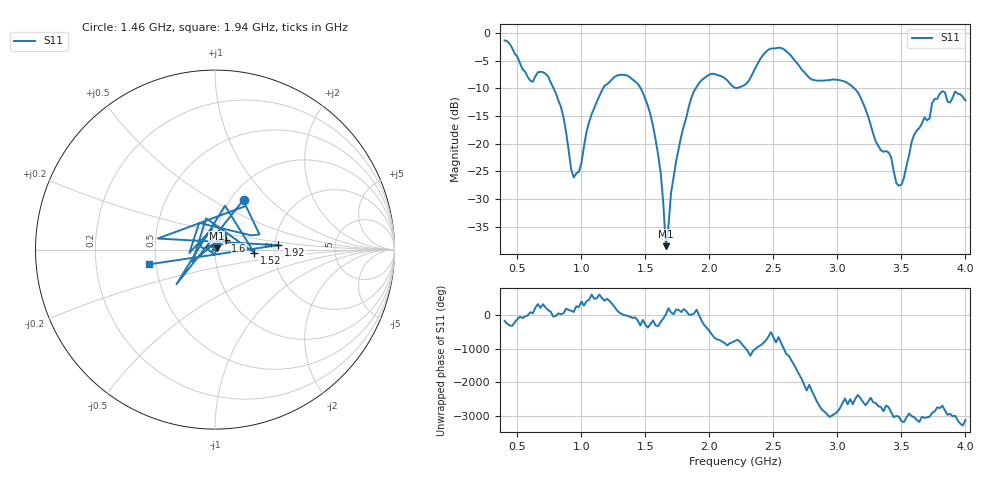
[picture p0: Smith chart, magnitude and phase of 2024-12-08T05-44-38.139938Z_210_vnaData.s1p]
!Created with skrf (http://scikit-rf.org).
# Hz S RI R 50.0
!freq ReS11 ImS11
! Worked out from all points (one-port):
!   181 points, 400 MHz to 4 GHz, reference 50 ohm
!   lowest |S11| = -38.5 dB at 1.66 GHz (marker M1), VSWR 1.02, Z = 51 + j0.665 ohm
!   |S11| at or under -10 dB: 781.7 MHz to 1.17 GHz (388.1 MHz wide, 39.8 % of centre); 1.463 GHz to 1.894 GHz (431.1 MHz wide, 25.7 % of centre); 3.131 GHz to end of sweep
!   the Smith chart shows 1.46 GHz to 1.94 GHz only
!   S11 on the Smith chart (normalised r, x): 1.46 GHz: 1.15, +0.71; 1.52 GHz: 1.56, -0.05; 1.6 GHz: 1.12, +0.12; 1.92 GHz: 2.08, +0.12; 1.94 GHz: 0.46, -0.09
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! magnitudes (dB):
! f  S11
! 400 MHz  -1.4
! 600 MHz  -8.6
! 740 MHz  -7.9
! 860 MHz  -15.2
! 940 MHz  -26.1
! 1.12 GHz  -12.4
! 1.3 GHz  -7.6
! 1.46 GHz  -9.9
! 1.52 GHz  -13.2
! 1.6 GHz  -22.1
! 1.62 GHz  -25.4
! 1.66 GHz  -38.5
! 1.7 GHz  -29.0
! 1.76 GHz  -20.9
! 1.92 GHz  -9.0
! 1.94 GHz  -8.5
! 2.2 GHz  -9.9
! 2.48 GHz  -2.8
! 2.66 GHz  -4.8
! 2.8 GHz  -8.4
! 3.1 GHz  -9.4
! 3.3 GHz  -19.7
! 3.42 GHz  -22.5
! 3.46 GHz  -27.1
! 3.5 GHz  -27.4
! 3.56 GHz  -22.1
! 3.8 GHz  -11.0
! 4 GHz  -12.2
